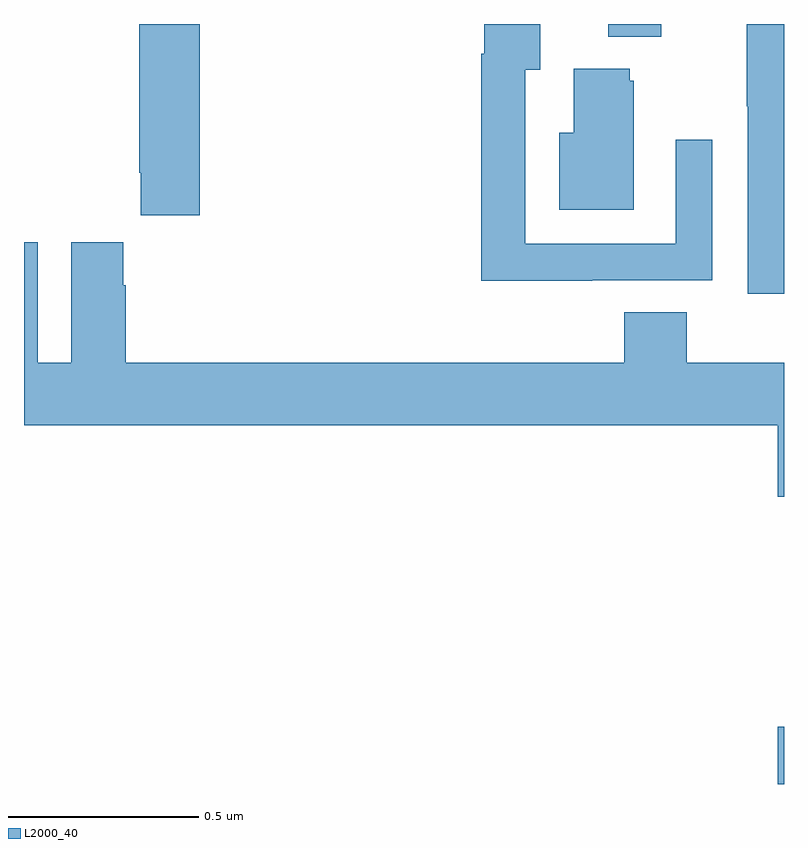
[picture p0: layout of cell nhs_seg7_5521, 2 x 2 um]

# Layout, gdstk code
import gdstk
lib = gdstk.Library(unit=1e-6, precision=1e-09)
def R(c, l, rs):  # rectangles x0, y0, x1, y1
    for r in rs: c.add(gdstk.rectangle(r[:2], r[2:], *l))
def P(c, l, *ps):  # polygons
    for p in ps: c.add(gdstk.Polygon(p, *l))
L2000_40 = (2000, 40)

nhs_seg7_5521 = lib.new_cell('nhs_seg7_5521')
R(nhs_seg7_5521, L2000_40, [(188.984,1005,189,1005.151), (188.537,1006.967,188.677,1007)])
P(nhs_seg7_5521, L2000_40, [(187.463,1007),(187.303,1007),(187.303,1006.609),(187.307,1006.609),(187.307,1006.497),(187.463,1006.497)],
  [(188.495,1006.326),(188.811,1006.326),(188.811,1006.696),(188.715,1006.696),(188.715,1006.422),(188.319,1006.422),(188.319,1006.879),(188.359,1006.879),(188.359,1007),(188.211,1007),(188.211,1006.922),(188.203,1006.922),(188.203,1006.325),(188.495,1006.325)],
  [(189,1007),(188.902,1007),(188.902,1006.783),(188.904,1006.783),(188.904,1006.29),(189,1006.29)],
  [(188.605,1006.851),(188.594,1006.851),(188.594,1006.882),(188.447,1006.882),(188.447,1006.714),(188.408,1006.714),(188.408,1006.511),(188.605,1006.511)],
  [(189,1006.108),(188.744,1006.108),(188.744,1006.241),(188.579,1006.241),(188.579,1006.108),(187.268,1006.108),(187.268,1006.313),(187.261,1006.313),(187.261,1006.426),(187.124,1006.426),(187.124,1006.108),(187.036,1006.108),(187.036,1006.426),(187,1006.426),(187,1005.944),(188.984,1005.944),(188.984,1005.756),(189,1005.756)])

lib.write_gds('nhs_seg7_5521.gds')
